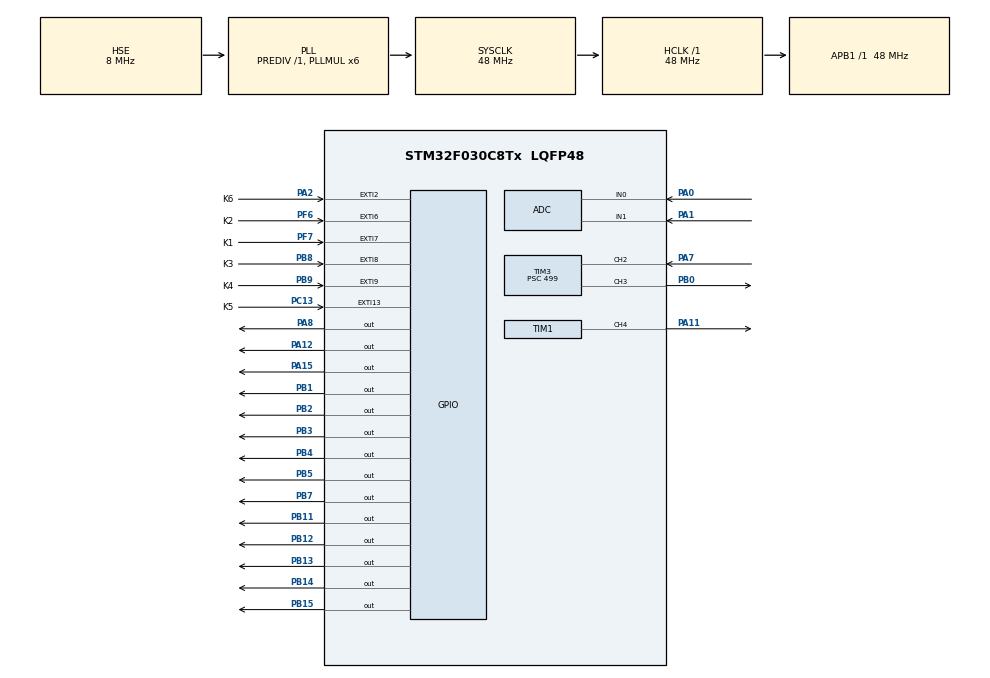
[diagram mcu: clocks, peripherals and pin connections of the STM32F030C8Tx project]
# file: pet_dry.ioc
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ADC.ContinuousConvMode=ENABLE
ADC.DMAContinuousRequests=DISABLE
Dma.ADC.0.Direction=DMA_PERIPH_TO_MEMORY
Dma.ADC.0.Instance=DMA1_Channel1
Dma.ADC.0.MemDataAlignment=DMA_MDATAALIGN_HALFWORD
Dma.ADC.0.MemInc=DMA_MINC_ENABLE
Dma.ADC.0.Mode=DMA_NORMAL
Dma.ADC.0.PeriphDataAlignment=DMA_PDATAALIGN_HALFWORD
Dma.ADC.0.PeriphInc=DMA_PINC_DISABLE
Dma.ADC.0.Priority=DMA_PRIORITY_MEDIUM
Dma.Request0=ADC
Mcu.Family=STM32F0
Mcu.Name=STM32F030C8Tx
Mcu.Package=LQFP48
NVIC.DMA1_Channel1_IRQn=true\:0\:0\:false\:false\:true\:false
NVIC.EXTI2_3_IRQn=true\:0\:0\:false\:false\:true\:true
NVIC.EXTI4_15_IRQn=true\:0\:0\:true\:false\:true\:true
NVIC.TIM1_BRK_UP_TRG_COM_IRQn=true\:0\:0\:false\:false\:true\:true
PA0.Mode=IN0
PA0.Signal=ADC_IN0
PA1.Mode=IN1
PA1.Signal=ADC_IN1
PA11.GPIO_Speed=GPIO_SPEED_FREQ_HIGH
PA11.Signal=S_TIM1_CH4
PA12.Signal=GPIO_Output
PA13.Mode=Serial_Wire
PA13.Signal=SYS_SWDIO
PA14.Mode=Serial_Wire
PA14.Signal=SYS_SWCLK
PA15.Signal=GPIO_Output
PA2.GPIO_Label=K6
PA2.GPIO_ModeDefaultEXTI=GPIO_MODE_IT_FALLING
PA2.Signal=GPXTI2
PA7.Signal=S_TIM3_CH2
PA8.Signal=GPIO_Output
PB0.GPIO_Speed=GPIO_SPEED_FREQ_HIGH
PB0.Signal=S_TIM3_CH3
PB1.GPIO_PuPd=GPIO_PULLUP
PB1.GPIO_Speed=GPIO_SPEED_FREQ_HIGH
PB1.Signal=GPIO_Output
PB11.Signal=GPIO_Output
PB12.Signal=GPIO_Output
PB13.Signal=GPIO_Output
PB14.Signal=GPIO_Output
PB15.Signal=GPIO_Output
PB2.Signal=GPIO_Output
PB3.GPIO_PuPd=GPIO_PULLUP
PB3.GPIO_Speed=GPIO_SPEED_FREQ_HIGH
PB3.Signal=GPIO_Output
PB4.GPIO_PuPd=GPIO_PULLDOWN
PB4.GPIO_Speed=GPIO_SPEED_FREQ_MEDIUM
PB4.Signal=GPIO_Output
PB5.GPIO_PuPd=GPIO_PULLUP
PB5.GPIO_Speed=GPIO_SPEED_FREQ_HIGH
PB5.Signal=GPIO_Output
PB7.GPIO_PuPd=GPIO_PULLUP
PB7.GPIO_Speed=GPIO_SPEED_FREQ_HIGH
PB7.Signal=GPIO_Output
PB8.GPIO_Label=K3
PB8.GPIO_ModeDefaultEXTI=GPIO_MODE_IT_FALLING
PB8.Signal=GPXTI8
PB9.GPIO_Label=K4
PB9.GPIO_ModeDefaultEXTI=GPIO_MODE_IT_FALLING
PB9.Signal=GPXTI9
PC13.GPIO_Label=K5
PC13.GPIO_ModeDefaultEXTI=GPIO_MODE_IT_FALLING
PC13.Signal=GPXTI13
PC14-OSC32_IN.Mode=LSE-External-Oscillator
PC14-OSC32_IN.Signal=RCC_OSC32_IN
PC15-OSC32_OUT.Mode=LSE-External-Oscillator
PC15-OSC32_OUT.Signal=RCC_OSC32_OUT
PF0-OSC_IN.Mode=HSE-External-Oscillator
PF0-OSC_IN.Signal=RCC_OSC_IN
PF1-OSC_OUT.Mode=HSE-External-Oscillator
PF1-OSC_OUT.Signal=RCC_OSC_OUT
PF6.GPIO_Label=K2
PF6.GPIO_ModeDefaultEXTI=GPIO_MODE_IT_FALLING
PF6.Signal=GPXTI6
PF7.GPIO_Label=K1
PF7.GPIO_ModeDefaultEXTI=GPIO_MODE_IT_FALLING
PF7.Signal=GPXTI7
ProjectManager.HeapSize=0x200
ProjectManager.StackSize=0x400
ProjectManager.TargetToolchain=MDK-ARM V5
RCC.AHBFreq_Value=48000000
RCC.APB1Freq_Value=48000000
RCC.APB1TimFreq_Value=48000000
RCC.HCLKFreq_Value=48000000
RCC.PLLMUL=RCC_PLL_MUL6
RCC.PLLSourceVirtual=RCC_PLLSOURCE_HSE
RCC.SYSCLKFreq_VALUE=48000000
RCC.SYSCLKSource=RCC_SYSCLKSOURCE_PLLCLK
SH.S_TIM1_CH4.0=TIM1_CH4,PWM Generation4 CH4
SH.S_TIM3_CH2.0=TIM3_CH2,Input_Capture2_from_TI2
SH.S_TIM3_CH3.0=TIM3_CH3,PWM Generation3 CH3
TIM1.AutoReloadPreload=TIM_AUTORELOAD_PRELOAD_ENABLE
TIM1.Channel-PWM\ Generation4\ CH4=TIM_CHANNEL_4
TIM1.Period=255
TIM1.Prescaler=299
TIM3.Channel-Input_Capture2_from_TI2=TIM_CHANNEL_2
TIM3.Channel-PWM\ Generation3\ CH3=TIM_CHANNEL_3
TIM3.Period=255
TIM3.Prescaler=499
board=pet_dry

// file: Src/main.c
/**
  ******************************************************************************
  * @file           : main.c
  * @brief          : Main program body
  ******************************************************************************
  ** This notice applies to any and all portions of this file
  * that are not between comment pairs USER CODE BEGIN and
  * USER CODE END. Other portions of this file, whether
  * inserted by the user or by software development tools
  * are owned by their respective copyright owners.
  *
  * COPYRIGHT(c) 2018 STMicroelectronics
  *
  * Redistribution and use in source and binary forms, with or without modification,
  * are permitted provided that the following conditions are met:
  *   1. Redistributions of source code must retain the above copyright notice,
  *      this list of conditions and the following disclaimer.
  *   2. Redistributions in binary form must reproduce the above copyright notice,
  *      this list of conditions and the following disclaimer in the documentation
  *      and/or other materials provided with the distribution.
  *   3. Neither the name of STMicroelectronics nor the names of its contributors
  *      may be used to endorse or promote products derived from this software
  *      without specific prior written permission.
  *
  * THIS SOFTWARE IS PROVIDED BY THE COPYRIGHT HOLDERS AND CONTRIBUTORS "AS IS"
  * AND ANY EXPRESS OR IMPLIED WARRANTIES, INCLUDING, BUT NOT LIMITED TO, THE
  * IMPLIED WARRANTIES OF MERCHANTABILITY AND FITNESS FOR A PARTICULAR PURPOSE ARE
  * DISCLAIMED. IN NO EVENT SHALL THE COPYRIGHT HOLDER OR CONTRIBUTORS BE LIABLE
  * FOR ANY DIRECT, INDIRECT, INCIDENTAL, SPECIAL, EXEMPLARY, OR CONSEQUENTIAL
  * DAMAGES (INCLUDING, BUT NOT LIMITED TO, PROCUREMENT OF SUBSTITUTE GOODS OR
  * SERVICES; LOSS OF USE, DATA, OR PROFITS; OR BUSINESS INTERRUPTION) HOWEVER
  * CAUSED AND ON ANY THEORY OF LIABILITY, WHETHER IN CONTRACT, STRICT LIABILITY,
  * OR TORT (INCLUDING NEGLIGENCE OR OTHERWISE) ARISING IN ANY WAY OUT OF THE USE
  * OF THIS SOFTWARE, EVEN IF ADVISED OF THE POSSIBILITY OF SUCH DAMAGE.
  *
  ******************************************************************************
  */
#include "main.h"
#include "stm32f0xx_hal.h"

/* USER CODE BEGIN Includes */
#include "HT1602B.h"
#include "NTC.h"
#include "Key.h"
#include "Disp_App.h"
#include "Control.h"

/* USER CODE END Includes */

TIM_HandleTypeDef htim1;
TIM_HandleTypeDef htim3;

/* USER CODE BEGIN PV */
/* Private variables ---------------------------------------------------------*/

//static uint16_t   aADCxConvertedData_1[16];

uint8_t sys_500ms, sys_sec;
uint16_t sys_ms;
uint8_t Key_Val;

uint16_t voltage_adc;

uint8_t ctl_flag;

uint8_t indexWave[] = {0,1,1,2,2,3,4,6,8,10,14,19,25,33,44,59,80,107,143,191,255,
                       255,191,143,107,80,59,44,33,25,19,14,10,8,6,4,3,2,2,1,1};

/* USER CODE END PV */

void SystemClock_Config(void);
static void MX_GPIO_Init(void);
static void MX_DMA_Init(void);
//static void MX_ADC_Init(void);
static void MX_TIM1_Init(void);
static void MX_TIM3_Init(void);

void HAL_TIM_MspPostInit(TIM_HandleTypeDef *htim);

/* USER CODE BEGIN PFP */
/* Private function prototypes -----------------------------------------------*/
void TIM1_Pulse_Adjust(uint8_t pulse);
void TIM3_Pulse_Adjust(uint8_t pulse);

/* USER CODE END PFP */

/* USER CODE BEGIN 0 */
void Systick_Application(void)
{

	sys_ms++;

	if(500 <= sys_ms)
	{
		sys_ms = 0;
		sys_500ms++;
		colon_flash = 1;

		if(2 <= sys_500ms)
		{
			sys_500ms = 0;
			if(sys_disp_tm){sys_disp_tm--;}
		}
	}
	Control_S_tick();
	ADC_Systick();
}

/* USER CODE END 0 */

int main(void)
{

  /* MCU Configuration----------------------------------------------------------*/

  /* Reset of all peripherals, Initializes the Flash interface and the Systick. */
  HAL_Init();

  /* Configure the system clock */
  SystemClock_Config();

  /* Initialize all configured peripherals */
  MX_GPIO_Init();
  MX_DMA_Init();
  MX_ADC_Init();
  MX_TIM1_Init();
  MX_TIM3_Init();
  /* USER CODE BEGIN 2 */

  if (HAL_TIM_PWM_Start(&htim3, TIM_CHANNEL_3) != HAL_OK)
  {
    Error_Handler();
  }

	BEEP_ON;
	HAL_Delay(300);
	BEEP_OFF;

//	uint16_t i=0,j=0,k=0;
	Ht1621_Init();

	Disp_All();
	HAL_Delay(1000);
	Disp_Clean();
//	HAL_Delay(800);

	Machine_Init();
  Real_Param.tempereture = 0xAA;

  /* USER CODE END 2 */

  /* Infinite loop */
  /* USER CODE BEGIN WHILE */

	while (1)
	{
		// Breath LED ----------------------------
//		i++;
//		if(i >= (sizeof(indexWave) - 1))
//		{
//			i = 0;
//		}

//		TIM1_Pulse_Adjust(indexWave[i]);
//		if(0 == i)
//		{
//			HAL_Delay(800);
//		}
//		TIM3_Pulse_Adjust(i);

//
		Real_Param.tempereture = Tempereture_ADC();

		Key_Val = Key_Check();

		Key_Deal(Key_Val);
		Disp_App();			// ��ʾ������ˢ��

  /* USER CODE END WHILE */

	}

}

void SystemClock_Config(void)
{

  RCC_OscInitTypeDef RCC_OscInitStruct;
  RCC_ClkInitTypeDef RCC_ClkInitStruct;

    /**Initializes the CPU, AHB and APB busses clocks
    */
  RCC_OscInitStruct.OscillatorType = RCC_OSCILLATORTYPE_HSI14|RCC_OSCILLATORTYPE_HSE;
  RCC_OscInitStruct.HSEState = RCC_HSE_ON;
  RCC_OscInitStruct.HSI14State = RCC_HSI14_ON;
  RCC_OscInitStruct.HSI14CalibrationValue = 16;
  RCC_OscInitStruct.PLL.PLLState = RCC_PLL_ON;
  RCC_OscInitStruct.PLL.PLLSource = RCC_PLLSOURCE_HSE;
  RCC_OscInitStruct.PLL.PLLMUL = RCC_PLL_MUL6;
  RCC_OscInitStruct.PLL.PREDIV = RCC_PREDIV_DIV1;
  if (HAL_RCC_OscConfig(&RCC_OscInitStruct) != HAL_OK)
  {
    _Error_Handler(__FILE__, __LINE__);
  }

    /**Initializes the CPU, AHB and APB busses clocks
    */
  RCC_ClkInitStruct.ClockType = RCC_CLOCKTYPE_HCLK|RCC_CLOCKTYPE_SYSCLK
                              |RCC_CLOCKTYPE_PCLK1;
  RCC_ClkInitStruct.SYSCLKSource = RCC_SYSCLKSOURCE_PLLCLK;
  RCC_ClkInitStruct.AHBCLKDivider = RCC_SYSCLK_DIV1;
  RCC_ClkInitStruct.APB1CLKDivider = RCC_HCLK_DIV1;

  if (HAL_RCC_ClockConfig(&RCC_ClkInitStruct, FLASH_LATENCY_1) != HAL_OK)
  {
    _Error_Handler(__FILE__, __LINE__);
  }

    /**Configure the Systick interrupt time
    */
  HAL_SYSTICK_Config(HAL_RCC_GetHCLKFreq()/1000);

    /**Configure the Systick
    */
  HAL_SYSTICK_CLKSourceConfig(SYSTICK_CLKSOURCE_HCLK);

  /* SysTick_IRQn interrupt configuration */
  HAL_NVIC_SetPriority(SysTick_IRQn, 0, 0);
}

/* TIM1 init function */
static void MX_TIM1_Init(void)
{

  TIM_MasterConfigTypeDef sMasterConfig;
  TIM_OC_InitTypeDef sConfigOC;
  TIM_BreakDeadTimeConfigTypeDef sBreakDeadTimeConfig;

  htim1.Instance = TIM1;
  htim1.Init.Prescaler = 299;
  htim1.Init.CounterMode = TIM_COUNTERMODE_UP;
  htim1.Init.Period = 255;
  htim1.Init.ClockDivision = TIM_CLOCKDIVISION_DIV1;
  htim1.Init.RepetitionCounter = 0;
  htim1.Init.AutoReloadPreload = TIM_AUTORELOAD_PRELOAD_ENABLE;
  if (HAL_TIM_PWM_Init(&htim1) != HAL_OK)
  {
    _Error_Handler(__FILE__, __LINE__);
  }

  sMasterConfig.MasterOutputTrigger = TIM_TRGO_RESET;
  sMasterConfig.MasterSlaveMode = TIM_MASTERSLAVEMODE_DISABLE;
  if (HAL_TIMEx_MasterConfigSynchronization(&htim1, &sMasterConfig) != HAL_OK)
  {
    _Error_Handler(__FILE__, __LINE__);
  }

  sConfigOC.OCMode = TIM_OCMODE_PWM1;
  sConfigOC.Pulse = 0;
  sConfigOC.OCPolarity = TIM_OCPOLARITY_HIGH;
  sConfigOC.OCFastMode = TIM_OCFAST_DISABLE;
  sConfigOC.OCIdleState = TIM_OCIDLESTATE_RESET;
  sConfigOC.OCNIdleState = TIM_OCNIDLESTATE_RESET;
  if (HAL_TIM_PWM_ConfigChannel(&htim1, &sConfigOC, TIM_CHANNEL_4) != HAL_OK)
  {
    _Error_Handler(__FILE__, __LINE__);
  }

  sBreakDeadTimeConfig.OffStateRunMode = TIM_OSSR_DISABLE;
  sBreakDeadTimeConfig.OffStateIDLEMode = TIM_OSSI_DISABLE;
  sBreakDeadTimeConfig.LockLevel = TIM_LOCKLEVEL_OFF;
  sBreakDeadTimeConfig.DeadTime = 0;
  sBreakDeadTimeConfig.BreakState = TIM_BREAK_DISABLE;
  sBreakDeadTimeConfig.BreakPolarity = TIM_BREAKPOLARITY_HIGH;
  sBreakDeadTimeConfig.AutomaticOutput = TIM_AUTOMATICOUTPUT_DISABLE;
  if (HAL_TIMEx_ConfigBreakDeadTime(&htim1, &sBreakDeadTimeConfig) != HAL_OK)
  {
    _Error_Handler(__FILE__, __LINE__);
  }

  HAL_TIM_MspPostInit(&htim1);

}

/* TIM3 init function */
static void MX_TIM3_Init(void)
{

  TIM_MasterConfigTypeDef sMasterConfig;
  TIM_IC_InitTypeDef sConfigIC;
  TIM_OC_InitTypeDef sConfigOC;

  htim3.Instance = TIM3;
  htim3.Init.Prescaler = 499;
  htim3.Init.CounterMode = TIM_COUNTERMODE_UP;
  htim3.Init.Period = 255;
  htim3.Init.ClockDivision = TIM_CLOCKDIVISION_DIV1;
  htim3.Init.AutoReloadPreload = TIM_AUTORELOAD_PRELOAD_DISABLE;
  if (HAL_TIM_IC_Init(&htim3) != HAL_OK)
  {
    _Error_Handler(__FILE__, __LINE__);
  }

  if (HAL_TIM_PWM_Init(&htim3) != HAL_OK)
  {
    _Error_Handler(__FILE__, __LINE__);
  }

  sMasterConfig.MasterOutputTrigger = TIM_TRGO_RESET;
  sMasterConfig.MasterSlaveMode = TIM_MASTERSLAVEMODE_DISABLE;
  if (HAL_TIMEx_MasterConfigSynchronization(&htim3, &sMasterConfig) != HAL_OK)
  {
    _Error_Handler(__FILE__, __LINE__);
  }

  sConfigIC.ICPolarity = TIM_INPUTCHANNELPOLARITY_RISING;
  sConfigIC.ICSelection = TIM_ICSELECTION_DIRECTTI;
  sConfigIC.ICPrescaler = TIM_ICPSC_DIV1;
  sConfigIC.ICFilter = 0;
  if (HAL_TIM_IC_ConfigChannel(&htim3, &sConfigIC, TIM_CHANNEL_2) != HAL_OK)
  {
    _Error_Handler(__FILE__, __LINE__);
  }

  sConfigOC.OCMode = TIM_OCMODE_PWM1;
  sConfigOC.Pulse = 0;
  sConfigOC.OCPolarity = TIM_OCPOLARITY_HIGH;
  sConfigOC.OCFastMode = TIM_OCFAST_DISABLE;
  if (HAL_TIM_PWM_ConfigChannel(&htim3, &sConfigOC, TIM_CHANNEL_3) != HAL_OK)
  {
    _Error_Handler(__FILE__, __LINE__);
  }

  HAL_TIM_MspPostInit(&htim3);

}

static void MX_DMA_Init(void)
{
  /* DMA controller clock enable */
  __HAL_RCC_DMA1_CLK_ENABLE();

  /* DMA interrupt init */
  /* DMA1_Channel1_IRQn interrupt configuration */
  HAL_NVIC_SetPriority(DMA1_Channel1_IRQn, 0, 0);
  HAL_NVIC_EnableIRQ(DMA1_Channel1_IRQn);

}

/** Configure pins as
        * Analog
        * Input
        * Output
        * EVENT_OUT
        * EXTI
*/
static void MX_GPIO_Init(void)
{

  GPIO_InitTypeDef GPIO_InitStruct;

  /* GPIO Ports Clock Enable */
  __HAL_RCC_GPIOC_CLK_ENABLE();
  __HAL_RCC_GPIOF_CLK_ENABLE();
  __HAL_RCC_GPIOA_CLK_ENABLE();
  __HAL_RCC_GPIOB_CLK_ENABLE();

  /*Configure GPIO pin Output Level */
  HAL_GPIO_WritePin(GPIOB, GPIO_PIN_1|GPIO_PIN_2|GPIO_PIN_11|GPIO_PIN_12
                          |GPIO_PIN_13|GPIO_PIN_14|GPIO_PIN_15|GPIO_PIN_3
                          |GPIO_PIN_4|GPIO_PIN_5|GPIO_PIN_7, GPIO_PIN_RESET);

  /*Configure GPIO pin Output Level */
  HAL_GPIO_WritePin(GPIOA, GPIO_PIN_8|GPIO_PIN_12|GPIO_PIN_15, GPIO_PIN_RESET);

  /*Configure GPIO pin : K5_Pin */
  GPIO_InitStruct.Pin = K5_Pin;
  GPIO_InitStruct.Mode = GPIO_MODE_IT_FALLING;
  GPIO_InitStruct.Pull = GPIO_NOPULL;
  HAL_GPIO_Init(K5_GPIO_Port, &GPIO_InitStruct);

  /*Configure GPIO pin : K6_Pin */
  GPIO_InitStruct.Pin = K6_Pin;
  GPIO_InitStruct.Mode = GPIO_MODE_IT_FALLING;
  GPIO_InitStruct.Pull = GPIO_NOPULL;
  HAL_GPIO_Init(K6_GPIO_Port, &GPIO_InitStruct);

  /*Configure GPIO pins : PB1 PB3 PB5 PB7 */
  GPIO_InitStruct.Pin = GPIO_PIN_1|GPIO_PIN_3|GPIO_PIN_5|GPIO_PIN_7;
  GPIO_InitStruct.Mode = GPIO_MODE_OUTPUT_PP;
  GPIO_InitStruct.Pull = GPIO_PULLUP;
  GPIO_InitStruct.Speed = GPIO_SPEED_FREQ_HIGH;
  HAL_GPIO_Init(GPIOB, &GPIO_InitStruct);

  /*Configure GPIO pins : PB2 PB11 PB12 PB13
                           PB14 PB15 */
  GPIO_InitStruct.Pin = GPIO_PIN_2|GPIO_PIN_11|GPIO_PIN_12|GPIO_PIN_13
                          |GPIO_PIN_14|GPIO_PIN_15;
  GPIO_InitStruct.Mode = GPIO_MODE_OUTPUT_PP;
  GPIO_InitStruct.Pull = GPIO_NOPULL;
  GPIO_InitStruct.Speed = GPIO_SPEED_FREQ_LOW;
  HAL_GPIO_Init(GPIOB, &GPIO_InitStruct);

  /*Configure GPIO pins : PA8 PA12 PA15 */
  GPIO_InitStruct.Pin = GPIO_PIN_8|GPIO_PIN_12|GPIO_PIN_15;
  GPIO_InitStruct.Mode = GPIO_MODE_OUTPUT_PP;
  GPIO_InitStruct.Pull = GPIO_NOPULL;
  GPIO_InitStruct.Speed = GPIO_SPEED_FREQ_LOW;
  HAL_GPIO_Init(GPIOA, &GPIO_InitStruct);

  /*Configure GPIO pins : K2_Pin K1_Pin */
  GPIO_InitStruct.Pin = K2_Pin|K1_Pin;
  GPIO_InitStruct.Mode = GPIO_MODE_IT_FALLING;
  GPIO_InitStruct.Pull = GPIO_NOPULL;
  HAL_GPIO_Init(GPIOF, &GPIO_InitStruct);

  /*Configure GPIO pin : PB4 */
  GPIO_InitStruct.Pin = GPIO_PIN_4;
  GPIO_InitStruct.Mode = GPIO_MODE_OUTPUT_PP;
  GPIO_InitStruct.Pull = GPIO_PULLDOWN;
  GPIO_InitStruct.Speed = GPIO_SPEED_FREQ_HIGH;
  HAL_GPIO_Init(GPIOB, &GPIO_InitStruct);

  /*Configure GPIO pins : K3_Pin K4_Pin */
  GPIO_InitStruct.Pin = K3_Pin|K4_Pin;
  GPIO_InitStruct.Mode = GPIO_MODE_IT_FALLING;
  GPIO_InitStruct.Pull = GPIO_NOPULL;
  HAL_GPIO_Init(GPIOB, &GPIO_InitStruct);

  /* EXTI interrupt init*/
  HAL_NVIC_SetPriority(EXTI2_3_IRQn, 0, 0);
  HAL_NVIC_EnableIRQ(EXTI2_3_IRQn);

  HAL_NVIC_SetPriority(EXTI4_15_IRQn, 0, 0);
  HAL_NVIC_EnableIRQ(EXTI4_15_IRQn);

	HAL_GPIO_WritePin(GPIOA, GPIO_PIN_15, GPIO_PIN_SET);
}

/* USER CODE BEGIN 4 */

void TIM1_Pulse_Adjust(uint8_t pulse)
{
	TIM_OC_InitTypeDef sConfigOC;

	sConfigOC.OCMode = TIM_OCMODE_PWM1;
	sConfigOC.Pulse = pulse;
	sConfigOC.OCPolarity = TIM_OCPOLARITY_HIGH;
	sConfigOC.OCFastMode = TIM_OCFAST_DISABLE;
	if (HAL_TIM_PWM_ConfigChannel(&htim1, &sConfigOC, TIM_CHANNEL_4) != HAL_OK)
	{
		_Error_Handler(__FILE__, __LINE__);
	}

	if (HAL_TIM_PWM_Start(&htim1, TIM_CHANNEL_4) != HAL_OK)
	{
		Error_Handler();
	}
}

void TIM3_Pulse_Adjust(uint8_t pulse)
{
	TIM_OC_InitTypeDef sConfigOC;

	sConfigOC.OCMode = TIM_OCMODE_PWM1;
	sConfigOC.Pulse = pulse;
	sConfigOC.OCPolarity = TIM_OCPOLARITY_HIGH;
	sConfigOC.OCFastMode = TIM_OCFAST_DISABLE;
	if (HAL_TIM_PWM_ConfigChannel(&htim3, &sConfigOC, TIM_CHANNEL_3) != HAL_OK)
	{
		_Error_Handler(__FILE__, __LINE__);
	}

	if (HAL_TIM_PWM_Start(&htim3, TIM_CHANNEL_3) != HAL_OK)
	{
		Error_Handler();
	}
}

/* USER CODE END 4 */

void _Error_Handler(char *file, int line)
{
  while(1)
  {
  }
}

/************************ (C) COPYRIGHT STMicroelectronics *****END OF FILE****/
